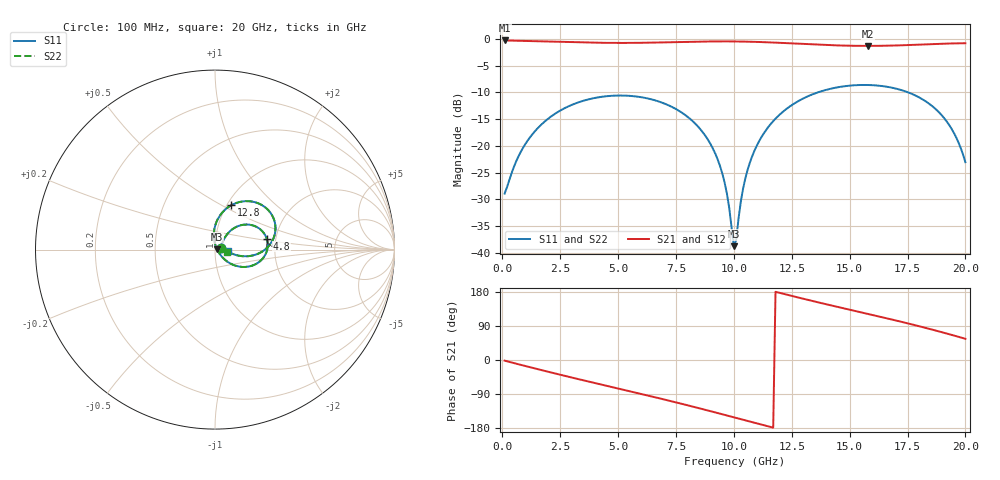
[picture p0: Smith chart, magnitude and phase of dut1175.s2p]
! Touchstone file exported from HFSS 2026.1.0
!  File:  C:/ffzhzh/LocalFiles/Ansys_Project_Files/temp_train_TSV_RDL_1175_1783314863_5512.aedt
!  Generated:  01:23:28 PM Jul  6, 2026
!  Design:  TSV_RDL
!  Project:  temp_train_TSV_RDL_1175_1783314863_5512
! Variables:
!  h_bsmrdl = 4.03um
!  h_ox = 20um
!  h_rdl = 5um
!  h_sub = 88.82um
!  h_tmrdl = 2.37um
!  h_tsv = 88.82um
!  h_via = 3um
!  l_bsmrdl = 267.93um
!  l_sub = 4096.73um
!  l_tmrdl = 699.73um
!  m_sub = 200um
!  pitch = 34.56um
!  r_tsv = 14.86um
!  s_tmrdl = 10um
!  w_bsmrdl = 17.55um
!  w_sub = 500um
!  w_tmrdl = 13.79um
!  x_tsv_center1 = 706.625um
!  x_tsv_center2 = 992.105um
!  x_tsv_center3 = 1705.625um
!  x_tsv_center4 = 1991.105um
!  x_tsv_center5 = 2704.625um
!  x_tsv_center6 = 2990.105um
# GHz S MA R 50.000000
! Terminal data exported
! Port[1] = TM_RDL1_1_T1
! Port[2] = TM_RDL5_1_T1
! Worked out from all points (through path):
!   200 points, 100 MHz to 20 GHz, reference 50 ohm
!   highest |S21| = -0.30 dB at 100 MHz (marker M1); lowest = -1.3 dB at 15.8 GHz (marker M2)
!   group delay of S21, straight-line fit = 41.9 ps
!   lowest |S11| = -38.7 dB at 10 GHz (marker M3), VSWR 1.02, Z = 51.2 + j0.171 ohm
!   |S11| at or under -10 dB: start of sweep to 13.63 GHz; 17.53 GHz to end of sweep
!   |S22| runs from -39.0 to -8.6 dB; largest |S21 - S12| = 1.9e-14
!   S11 on the Smith chart (normalised r, x): 100 MHz: 1.07, +0.02; 4.8 GHz: 1.79, +0.24; 12.8 GHz: 1.05, +0.56; 20 GHz: 1.15, -0.02
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0.1  0.03591 16.1  0.9657 -1.7  0.9657 -1.7  0.03591 16.1
! Gamma 0 0 0 0
! Port Impedance 50 0 50 0
0.7  0.08004 49.8  0.9589 -11.3  0.9589 -11.3  0.08004 49.8
1.4  0.1364 50.6  0.9506 -22.2  0.9506 -22.2  0.1364 50.6
3.5  0.2641 28.6  0.9244 -53.6  0.9244 -53.6  0.2641 28.6
4.8  0.2945 11.9  0.9161 -72.4  0.9161 -72.4  0.2946 11.9
6.8  0.2582 -14.8  0.9247 -101.3  0.9247 -101.3  0.2582 -14.8
8.2  0.1721 -33.8  0.9392 -122.6  0.9392 -122.6  0.1721 -33.9
9.1  0.09405 -44.4  0.9457 -136.7  0.9457 -136.7  0.09406 -44.6
9.6  0.0457 -44.8  0.9466 -144.8  0.9466 -144.8  0.04567 -45.3
9.8  0.02641 -37.2  0.9464 -148.0  0.9464 -148.0  0.02632 -37.9
10  0.01159 8.3  0.9457 -151.2  0.9457 -151.2  0.01128 7.5
10.1  0.01318 55.9  0.9452 -152.8  0.9452 -152.8  0.01286 56.5
10.4  0.04005 92.5  0.943 -157.7  0.943 -157.7  0.0399 93.0
10.9  0.09124 93.8  0.9373 -165.7  0.9373 -165.7  0.09115 94.0
11.7  0.1704 84.8  0.9237 -178.5  0.9237 -178.5  0.1703 84.9
12.8  0.2634 69.8  0.8997 164.6  0.8997 164.6  0.2634 69.9
13.4  0.3034 61.6  0.8867 155.7  0.8867 155.7  0.3033 61.6
15.8  0.3707 29.7  0.8592 121.5  0.8592 121.5  0.3706 29.7
16.7  0.3542 18.0  0.8637 108.6  0.8637 108.6  0.3541 18.0
18.8  0.2123 -8.8  0.8969 76.4  0.8969 76.4  0.2122 -8.9
19.5  0.1327 -14.3  0.9067 64.7  0.9067 64.7  0.1325 -14.5
20  0.07054 -8.4  0.9099 56.0  0.9099 56.0  0.07025 -8.8
